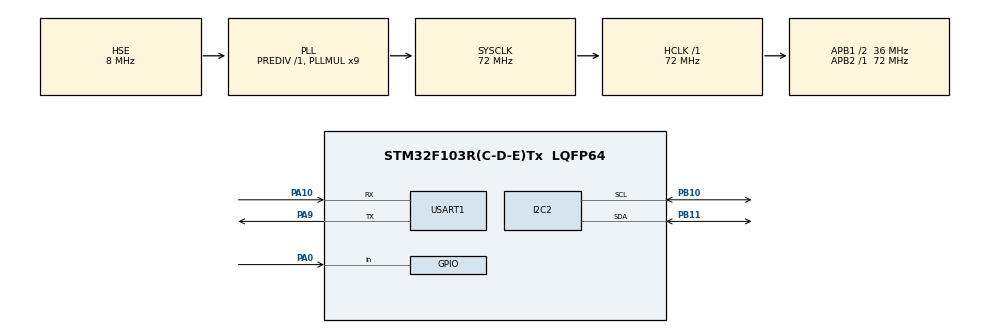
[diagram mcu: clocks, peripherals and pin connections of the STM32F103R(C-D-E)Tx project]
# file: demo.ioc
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I2C2.I2C_Mode=I2C_Standard
I2C2.NoStretchMode=I2C_NOSTRETCH_DISABLE
Mcu.Family=STM32F1
Mcu.Name=STM32F103R(C-D-E)Tx
Mcu.Package=LQFP64
NVIC.PriorityGroup=NVIC_PRIORITYGROUP_4
NVIC.USART1_IRQn=true\:0\:0\:false\:false\:true\:true\:true\:true
PA0-WKUP.GPIO_PuPd=GPIO_PULLDOWN
PA0-WKUP.Signal=GPIO_Input
PA10.Mode=Asynchronous
PA10.Signal=USART1_RX
PA13.Mode=Serial_Wire
PA13.Signal=SYS_JTMS-SWDIO
PA14.Mode=Serial_Wire
PA14.Signal=SYS_JTCK-SWCLK
PA9.Mode=Asynchronous
PA9.Signal=USART1_TX
PB10.GPIO_Pu=GPIO_PULLUP
PB10.Mode=I2C
PB10.Signal=I2C2_SCL
PB11.GPIO_Pu=GPIO_PULLUP
PB11.Mode=I2C
PB11.Signal=I2C2_SDA
PD0-OSC_IN.Mode=HSE-External-Oscillator
PD0-OSC_IN.Signal=RCC_OSC_IN
PD1-OSC_OUT.Mode=HSE-External-Oscillator
PD1-OSC_OUT.Signal=RCC_OSC_OUT
ProjectManager.HeapSize=0x200
ProjectManager.StackSize=0x400
ProjectManager.TargetToolchain=MDK-ARM V5
RCC.AHBFreq_Value=72000000
RCC.APB1CLKDivider=RCC_HCLK_DIV2
RCC.APB1Freq_Value=36000000
RCC.APB1TimFreq_Value=72000000
RCC.APB2Freq_Value=72000000
RCC.APB2TimFreq_Value=72000000
RCC.HCLKFreq_Value=72000000
RCC.PLLMUL=RCC_PLL_MUL9
RCC.PLLSourceVirtual=RCC_PLLSOURCE_HSE
RCC.SYSCLKFreq_VALUE=72000000
RCC.SYSCLKSource=RCC_SYSCLKSOURCE_PLLCLK
RCC.USBFreq_Value=72000000
USART1.VirtualMode=VM_ASYNC
board=custom

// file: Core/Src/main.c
/* USER CODE BEGIN Header */
/**
 ******************************************************************************
 * @file           : main.c
 * @brief          : Main program body
 ******************************************************************************
 * @attention
 *
 * <h2><center>&copy; Copyright (c) 2022 STMicroelectronics.
 * All rights reserved.</center></h2>
 *
 * This software component is licensed by ST under BSD 3-Clause license,
 * the "License"; You may not use this file except in compliance with the
 * License. You may obtain a copy of the License at:
 *                        opensource.org/licenses/BSD-3-Clause
 *
 ******************************************************************************
 */
/* USER CODE END Header */
#include "main.h"
#include "i2c.h"
#include "usart.h"
#include "gpio.h"

/* USER CODE BEGIN Includes */
#include "ssd1306/ssd1306_i2c.h"
#include "images.h"

/* USER CODE END Includes */

void SystemClock_Config(void);

/* USER CODE BEGIN 0 */

#define ARRSZIE(arr) (sizeof(arr) / sizeof(arr[0]))

uint8_t get_key_val()
{
    if (HAL_GPIO_ReadPin(GPIOA, GPIO_PIN_0) == GPIO_PIN_SET) {
        HAL_Delay(10);
        return HAL_GPIO_ReadPin(GPIOA, GPIO_PIN_0) == GPIO_PIN_SET;
    }
}

int32_t _min(int32_t a, int32_t b) { return a < b ? a : b; }
int32_t _max(int32_t a, int32_t b) { return a > b ? a : b; }

// 云朵
int16_t cloud_offset_x;
uint8_t cloud_offset_y;
// 仙人掌
uint8_t       cactus_index   = 0;
uint8_t       cactus_width[] = {8, 16, 24, 24};  // sizeof(CACTUS_x) / 2;
uint8_t*      cactus_image[] = {CACTUS_1, CACTUS_2, CACTUS_3, CACTUS_4};
int16_t       cactus_offset_x;
const uint8_t cactus_height = 16;
const uint8_t cactus_speed  = 5;
// 小恐龙
const uint8_t dino_width    = 16;
const uint8_t dino_height   = 16;
const uint8_t dino_offset_x = dino_width;
int8_t        dino_offset_y;
// 空字节
const uint8_t zerobuff[128] = {0x00};

uint8_t game_draw_image(
    int16_t offset_x,  // col span
    int16_t offset_y,  // row span
    uint8_t image_w,
    uint8_t image_h,
    uint8_t image_p[],
    uint8_t clear_w)
{
    if (offset_y >= SSD1306_ROW_COUNT ||
        offset_y <= -image_h) return 1;  // y out of range

    if (offset_x >= SSD1306_COL_COUNT) return 2;  // x out of range

    uint8_t dst_x, dst_y;
    uint8_t dst_w, dst_h;
    uint8_t clr_x, clr_w;

    clr_w = _min(clear_w, SSD1306_COL_COUNT);

    if (offset_y < 0) {
        image_p += -offset_y * image_w;
        dst_h = image_h + offset_y;
        dst_y = 0;
    } else {
        dst_y = offset_y;
        dst_h = _min(image_h, SSD1306_ROW_COUNT - dst_y);
    }

    if (offset_x < 0) {
        if (offset_x <= -image_w) {
            if (clr_w) ssd1306_show_img(0, dst_y, clr_w, dst_h, zerobuff);
            return 2;  // x out of range
        }
        image_p -= offset_x;
        dst_w = image_w + offset_x;
        dst_x = 0;
    } else {  // dst_x>0
        dst_x = offset_x;
        dst_w = _min(image_w, SSD1306_COL_COUNT - dst_x);
    }

    clr_x = dst_x + dst_w;

    if (clr_x >= SSD1306_COL_COUNT) {
        clr_w = 0;
    } else if (clr_w > (SSD1306_COL_COUNT - clr_x)) {
        clr_w = (SSD1306_COL_COUNT - clr_x);
    }

    while (dst_h--) {
        ssd1306_show_img(dst_x, dst_y, dst_w, 1, image_p);
        if (clr_w) ssd1306_write_ndata(zerobuff, clr_w);
        ++dst_y;
        image_p += image_w;
    }

    return 0;
}

// 绘制云朵

void game_reset_cloud()
{
    cloud_offset_x = SSD1306_COL_COUNT;
    cloud_offset_y = rand() % 3;
}

void game_draw_cloud()
{
    const uint8_t speed = 3;

    // ssd1306_show_str(score) -> clear_w = speed
    // ssd1306_show_str_ex(score) -> clear_w = SSD1306_COL_COUNT
    if (game_draw_image(cloud_offset_x, cloud_offset_y, sizeof(CLOUD), 1, CLOUD, speed))
        game_reset_cloud();

    cloud_offset_x -= speed;
}

// 绘制仙人掌

void game_reset_cactus()
{
    cactus_index    = rand() % ARRSZIE(cactus_image);
    cactus_offset_x = SSD1306_COL_COUNT;
}

void game_draw_cactus()
{
    if (game_draw_image(cactus_offset_x, 5, cactus_width[cactus_index], 2, cactus_image[cactus_index], cactus_speed))
        game_reset_cactus();
    cactus_offset_x -= cactus_speed;
}

// 绘制地面 ok
void game_draw_ground()
{
    static uint16_t x     = 0;
    const uint8_t   speed = 5;

    uint8_t remain = sizeof(GROUND) - x;

    if (remain >= SSD1306_COL_COUNT) {
        ssd1306_show_img(0, 7, SSD1306_COL_COUNT, 1, GROUND + x);
    } else {
        ssd1306_show_img(0, 7, remain, 1, GROUND + x);
        ssd1306_show_img(remain, 7, SSD1306_COL_COUNT - remain, 1, GROUND);
    }

    x += speed;
    if (x >= sizeof(GROUND))
        x = 0;
}

// 绘制小恐龙

void game_reset_dino()
{
    dino_offset_y = 0;
}

// 绘制跑步小恐龙 ok
void game_draw_dino()
{
    static uint8_t dino_dir = 0;
    ssd1306_show_img(dino_offset_x, 5, dino_width, 2, DINO[dino_dir = !dino_dir]);
}

// 绘制跳跃小恐龙 ok
void game_draw_jump_dino()
{
    const int8_t   speed_arr[] = {1, 1, 3, 3, 4, 4, 5, 6, 7};
    static uint8_t speed_idx   = sizeof(speed_arr) - 1;
    static uint8_t dir         = 0;

    if (dir == 0) {
        dino_offset_y += speed_arr[speed_idx--];

        if (dino_offset_y >= 31) {
            dir           = 1;
            dino_offset_y = 31;
        }

        if (speed_idx < 0) speed_idx = 0;

    } else {
        dino_offset_y -= speed_arr[speed_idx++];

        if (dino_offset_y <= 0) {
            dir           = 0;
            dino_offset_y = 0;
        }

        if (speed_idx > sizeof(speed_arr) - 1)
            speed_idx = sizeof(speed_arr) - 1;
    }

    uint8_t offset = dino_offset_y / 8;

    ssd1306_show_img(dino_offset_x, 4 - offset, dino_width, 3, DINO_JUMP[dino_offset_y % 8]);

    uint8_t y = (dir ? 3 : 7) - offset;

    // ignore score area and ground area
    if (y > 1 && y < 7) ssd1306_show_img(dino_offset_x, y, dino_width, 1, zerobuff);
}

//

void game_draw_start()
{
    ssd1306_fill_img(COVER);  // cover
}

void game_draw_restart()
{
    ssd1306_show_img(52, 2, 24, 3, RESTART);
    ssd1306_show_str(10, 3, "GAME", 2);
    ssd1306_show_str(86, 3, "OVER", 2);
}

//

void game_reset()
{
    game_reset_cactus();
    game_reset_dino();
    game_reset_cloud();
    ssd1306_clear();
    HAL_Delay(10);
}

/* USER CODE END 0 */

int main(void)
{
    /* USER CODE BEGIN 1 */
    uint32_t current_score = 0;
    uint32_t highest_score = 0;
    int8_t   failed        = 0;
    char     buff[10];
    /* USER CODE END 1 */

    /* MCU Configuration--------------------------------------------------------*/

    /* Reset of all peripherals, Initializes the Flash interface and the Systick. */
    HAL_Init();

    /* Configure the system clock */
    SystemClock_Config();

    /* Initialize all configured peripherals */
    MX_GPIO_Init();
    MX_USART1_UART_Init();
    MX_I2C2_Init();

    /* Infinite loop */
    /* USER CODE BEGIN WHILE */
    ssd1306_init();
    game_draw_start();
    while (!get_key_val()) {}
    game_reset();  // reset params
    while (1) {
        if (failed) {
            game_draw_restart();
            if (get_key_val()) {
                if (current_score > highest_score)
                    highest_score = current_score;
                current_score = 0;
                failed        = 0;
                game_reset();
            }
            continue;
        }

        ++current_score;

        (dino_offset_y > 0 || get_key_val()) ? game_draw_jump_dino() : game_draw_dino();

        game_draw_ground();
        game_draw_cloud();
        game_draw_cactus();

        if (dino_offset_y <= cactus_height) {  // hittest
            failed = !(cactus_offset_x > (dino_offset_x + dino_width) ||
                       dino_offset_x > (cactus_offset_x + cactus_width[cactus_index]));
        }

        // score
        sprintf(buff, "%4d/%d", current_score, highest_score);
        ssd1306_show_str(0, 0, buff, 1);

        if (current_score == 9999) {
            // success
            while (1) {}
        }

        HAL_Delay(30 - _min(current_score / 20, 29));  // play speed

        /* USER CODE END WHILE */

    }
}

void SystemClock_Config(void)
{
    RCC_OscInitTypeDef RCC_OscInitStruct = {0};
    RCC_ClkInitTypeDef RCC_ClkInitStruct = {0};

    /** Initializes the RCC Oscillators according to the specified parameters
     * in the RCC_OscInitTypeDef structure.
     */
    RCC_OscInitStruct.OscillatorType = RCC_OSCILLATORTYPE_HSE;
    RCC_OscInitStruct.HSEState       = RCC_HSE_ON;
    RCC_OscInitStruct.HSEPredivValue = RCC_HSE_PREDIV_DIV1;
    RCC_OscInitStruct.HSIState       = RCC_HSI_ON;
    RCC_OscInitStruct.PLL.PLLState   = RCC_PLL_ON;
    RCC_OscInitStruct.PLL.PLLSource  = RCC_PLLSOURCE_HSE;
    RCC_OscInitStruct.PLL.PLLMUL     = RCC_PLL_MUL9;
    if (HAL_RCC_OscConfig(&RCC_OscInitStruct) != HAL_OK) {
        Error_Handler();
    }

    /** Initializes the CPU, AHB and APB buses clocks
     */
    RCC_ClkInitStruct.ClockType      = RCC_CLOCKTYPE_HCLK | RCC_CLOCKTYPE_SYSCLK | RCC_CLOCKTYPE_PCLK1 | RCC_CLOCKTYPE_PCLK2;
    RCC_ClkInitStruct.SYSCLKSource   = RCC_SYSCLKSOURCE_PLLCLK;
    RCC_ClkInitStruct.AHBCLKDivider  = RCC_SYSCLK_DIV1;
    RCC_ClkInitStruct.APB1CLKDivider = RCC_HCLK_DIV2;
    RCC_ClkInitStruct.APB2CLKDivider = RCC_HCLK_DIV1;

    if (HAL_RCC_ClockConfig(&RCC_ClkInitStruct, FLASH_LATENCY_2) != HAL_OK) {
        Error_Handler();
    }
}

void Error_Handler(void)
{
}
